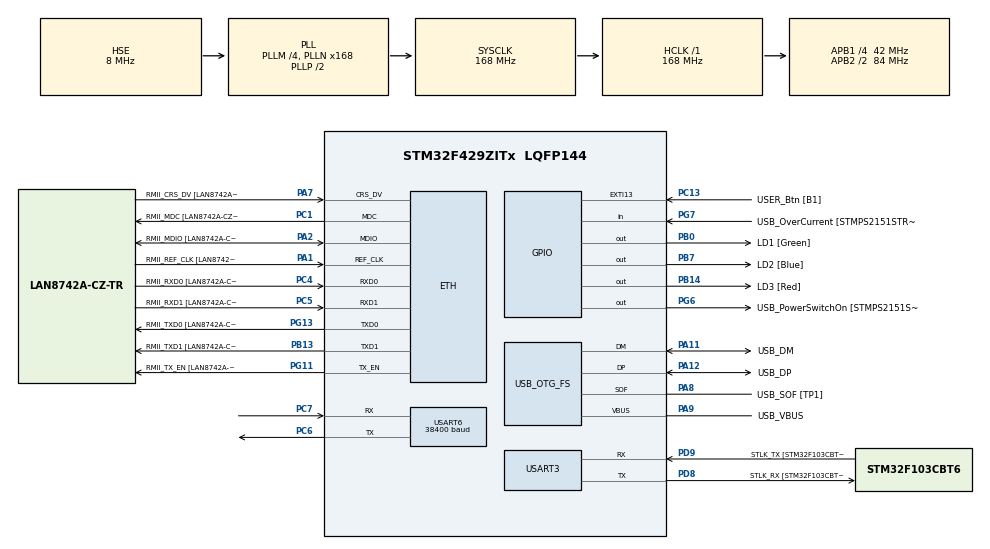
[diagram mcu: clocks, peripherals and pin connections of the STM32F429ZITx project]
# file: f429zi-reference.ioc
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ETH.MediaInterface=HAL_ETH_RMII_MODE
ETH.PHY_Name=LAN8742A_PHY_ADDRESS
ETH.PHY_Value=0
ETH.PhyAddress=0
Mcu.Family=STM32F4
Mcu.Name=STM32F429ZITx
Mcu.Package=LQFP144
NVIC.PriorityGroup=NVIC_PRIORITYGROUP_4
NVIC.USART6_IRQn=true\:0\:0\:false\:false\:true\:true\:true\:true
PA1.GPIO_Label=RMII_REF_CLK [LAN8742A-CZ-TR_REFCLK0]
PA1.Mode=RMII
PA1.Signal=ETH_REF_CLK
PA10.GPIO_Label=USB_ID
PA10.Signal=USB_OTG_FS_ID
PA11.GPIO_Label=USB_DM
PA11.Mode=Device_Only
PA11.Signal=USB_OTG_FS_DM
PA12.GPIO_Label=USB_DP
PA12.Mode=Device_Only
PA12.Signal=USB_OTG_FS_DP
PA13.GPIO_Label=TMS
PA13.Mode=Serial_Wire
PA13.Signal=SYS_JTMS-SWDIO
PA14.GPIO_Label=TCK
PA14.Mode=Serial_Wire
PA14.Signal=SYS_JTCK-SWCLK
PA2.GPIO_Label=RMII_MDIO [LAN8742A-CZ-TR_MDIO]
PA2.Mode=RMII
PA2.Signal=ETH_MDIO
PA7.GPIO_Label=RMII_CRS_DV [LAN8742A-CZ-TR_CRS_DV]
PA7.Mode=RMII
PA7.Signal=ETH_CRS_DV
PA8.GPIO_Label=USB_SOF [TP1]
PA8.Mode=Activate_SOF_FS
PA8.Signal=USB_OTG_FS_SOF
PA9.GPIO_Label=USB_VBUS
PA9.Mode=Activate_VBUS
PA9.Signal=USB_OTG_FS_VBUS
PB0.GPIO_Label=LD1 [Green]
PB0.Signal=GPIO_Output
PB13.GPIO_Label=RMII_TXD1 [LAN8742A-CZ-TR_TXD1]
PB13.Mode=RMII
PB13.Signal=ETH_TXD1
PB14.GPIO_Label=LD3 [Red]
PB14.Signal=GPIO_Output
PB7.GPIO_Label=LD2 [Blue]
PB7.Signal=GPIO_Output
PC1.GPIO_Label=RMII_MDC [LAN8742A-CZ-TR_MDC]
PC1.Mode=RMII
PC1.Signal=ETH_MDC
PC13.GPIO_Label=USER_Btn [B1]
PC13.Signal=GPXTI13
PC14/OSC32_IN.Mode=LSE-External-Oscillator
PC14/OSC32_IN.Signal=RCC_OSC32_IN
PC15/OSC32_OUT.Mode=LSE-External-Oscillator
PC15/OSC32_OUT.Signal=RCC_OSC32_OUT
PC4.GPIO_Label=RMII_RXD0 [LAN8742A-CZ-TR_RXD0]
PC4.Mode=RMII
PC4.Signal=ETH_RXD0
PC5.GPIO_Label=RMII_RXD1 [LAN8742A-CZ-TR_RXD1]
PC5.Mode=RMII
PC5.Signal=ETH_RXD1
PC6.Mode=Asynchronous
PC6.Signal=USART6_TX
PC7.Mode=Asynchronous
PC7.Signal=USART6_RX
PD8.GPIO_Label=STLK_RX [STM32F103CBT6_PA3]
PD8.Mode=Asynchronous
PD8.Signal=USART3_TX
PD9.GPIO_Label=STLK_TX [STM32F103CBT6_PA2]
PD9.Mode=Asynchronous
PD9.Signal=USART3_RX
PG11.GPIO_Label=RMII_TX_EN [LAN8742A-CZ-TR_TXEN]
PG11.Mode=RMII
PG11.Signal=ETH_TX_EN
PG13.GPIO_Label=RMII_TXD0 [LAN8742A-CZ-TR_TXD0]
PG13.Mode=RMII
PG13.Signal=ETH_TXD0
PG6.GPIO_Label=USB_PowerSwitchOn [STMPS2151STR_EN]
PG6.Signal=GPIO_Output
PG7.GPIO_Label=USB_OverCurrent [STMPS2151STR_FAULT]
PG7.Signal=GPIO_Input
PH0/OSC_IN.GPIO_Label=MCO [STM32F103CBT6_PA8]
PH0/OSC_IN.Mode=HSE-External-Clock-Source
PH0/OSC_IN.Signal=RCC_OSC_IN
PH1/OSC_OUT.Mode=HSE-External-Clock-Source
PH1/OSC_OUT.Signal=RCC_OSC_OUT
ProjectManager.HeapSize=0x200
ProjectManager.StackSize=0x400
ProjectManager.TargetToolchain=CMake
RCC.48MHZClocksFreq_Value=48000000
RCC.AHBFreq_Value=168000000
RCC.APB1CLKDivider=RCC_HCLK_DIV4
RCC.APB1Freq_Value=42000000
RCC.APB1TimFreq_Value=84000000
RCC.APB2CLKDivider=RCC_HCLK_DIV2
RCC.APB2Freq_Value=84000000
RCC.APB2TimCLKDivider=2
RCC.APB2TimFreq_Value=168000000
RCC.CortexFreq_Value=168000000
RCC.HCLKFreq_Value=168000000
RCC.HSE_VALUE=8000000
RCC.HSI_VALUE=16000000
RCC.PLLM=4
RCC.PLLMUL=RCC_PLL_MUL9
RCC.PLLN=168
RCC.PLLQ=7
RCC.PRESCALERUSB=RCC_USBCLKSOURCE_PLL_DIV1_5
RCC.SYSCLKFreq_VALUE=168000000
RCC.SYSCLKSource=RCC_SYSCLKSOURCE_PLLCLK
RCC.SYSCLKSourceVirtual=RCC_SYSCLKSOURCE_PLLCLK
RCC.USBFreq_Value=48000000
RCC.VCOOutputFreq_Value=336000000
USART3.VirtualMode=VM_ASYNC
USART6.BaudRate=38400
USART6.VirtualMode=VM_ASYNC
USB_OTG_FS.VirtualMode=Device_Only
VP_RNG_VS_RNG.Mode=RNG_Activate
board=NUCLEO-F429ZI

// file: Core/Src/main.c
/* USER CODE BEGIN Header */
/**
  ******************************************************************************
  * @file           : main.c
  * @brief          : Main program body
  ******************************************************************************
  * @attention
  *
  * Copyright (c) 2026 STMicroelectronics.
  * All rights reserved.
  *
  * This software is licensed under terms that can be found in the LICENSE file
  * in the root directory of this software component.
  * If no LICENSE file comes with this software, it is provided AS-IS.
  *
  ******************************************************************************
  */
/* USER CODE END Header */
#include "main.h"
#include "eth.h"
#include "usart.h"
#include "usb_otg.h"
#include "gpio.h"
#include "rng.h"

/* USER CODE BEGIN Includes */
#include <stdio.h>
#include "firmware_update_service.h"
#include "wifi_credentials.local.h"
#include "esp01_uart.h"
#include "esp01_modem.h"
#include "esp01_coap_download_transport.h"
#include "f429zi_firmware_backend.h"
#include "f429zi_lwm2m_client.h"
/* USER CODE END Includes */

/* USER CODE BEGIN PD */

#define LWM2M_ENDPOINT_NAME "stm32-f429zi-01"
#define LWM2M_SERVER_HOST   "10.10.16.58"
#define LWM2M_SERVER_PORT   5683U
#define LWM2M_LOCAL_PORT    56830U
#define ARTIFACT_LOCAL_PORT 56831U
#define ARTIFACT_LINK_ID    1U

#ifndef F429ZI_APP_VERSION
#define F429ZI_APP_VERSION "unknown"
#endif

/* USER CODE END PD */

/* USER CODE BEGIN PV */
static firmware_update_service_t firmware_service;
static firmware_update_backend_t firmware_backend;
static f429zi_firmware_backend_t firmware_backend_context;
static firmware_download_transport_t firmware_download_transport;
static esp01_coap_download_transport_t firmware_download_context;
static f429zi_lwm2m_client_t lwm2m_client;
/* USER CODE END PV */

void SystemClock_Config(void);

/* USER CODE BEGIN 0 */

int __io_putchar(int ch)
{
    uint8_t byte = (uint8_t)ch;

    HAL_UART_Transmit(
        &huart3,
        &byte,
        1U,
        HAL_MAX_DELAY);

    return ch;
}
/* USER CODE END 0 */

int main(void)
{

  /* USER CODE BEGIN 1 */

  bool wifi_connected = false;
  int previous_lwm2m_error = COAP_NO_ERROR;

  /* USER CODE END 1 */

  /* MCU Configuration--------------------------------------------------------*/

  /* Reset of all peripherals, Initializes the Flash interface and the Systick. */
  HAL_Init();

  /* Configure the system clock */
  SystemClock_Config();

  /* Initialize all configured peripherals */
  MX_GPIO_Init();
  MX_ETH_Init();
  MX_USART3_UART_Init();
  MX_USART6_UART_Init();
  MX_USB_OTG_FS_PCD_Init();
  MX_RNG_Init();
  /* USER CODE BEGIN 2 */

  printf("[OTA APP] version=%s\r\n", F429ZI_APP_VERSION);

  if (!esp01_uart_start(&huart6))
  {
      printf("[ESP] UART RX interrupt start failed\r\n");
      Error_Handler();
  }

  esp01_modem_status_t modem_status;

  esp01_modem_init();

  modem_status = esp01_modem_reset();

  if (modem_status != ESP01_MODEM_STATUS_OK)
  {
      printf(
          "[ESP] Modem reset failed: %u\r\n",
          (unsigned)modem_status);
  }
  else
  {
      modem_status = esp01_modem_join_wifi(
          WIFI_SSID,
          WIFI_PASSWORD);

      if (modem_status != ESP01_MODEM_STATUS_OK)
      {
          printf(
              "[ESP] Wi-Fi connection failed: %u\r\n",
              (unsigned)modem_status);
      }
      else
      {
          printf("[ESP] Wi-Fi connected\r\n");
          wifi_connected = true;
      }
  }

  printf(
      "[ESP] UART overflows=%lu, packet drops=%lu\r\n",
      (unsigned long)esp01_uart_overflow_count(),
      (unsigned long)esp01_modem_dropped_packet_count());

  if (!f429zi_firmware_backend_init(
          &firmware_backend_context,
          &firmware_backend))
  {
      Error_Handler();
  }

  if (!firmware_update_service_init(
          &firmware_service,
          &firmware_backend))
  {
      Error_Handler();
  }

  firmware_update_service_recover_after_boot(
      &firmware_service);

  printf(
      "[OTA KIT] state=%u, updateResult=%u\r\n",
      (unsigned)firmware_service.state,
      (unsigned)firmware_service.update_result);

  if (wifi_connected)
  {
      if (!esp01_coap_download_transport_init(
              &firmware_download_context,
              ARTIFACT_LINK_ID,
              ARTIFACT_LOCAL_PORT,
              &firmware_download_transport))
      {
          printf("[OTA] download transport initialization failed\r\n");
          Error_Handler();
      }

      if (!f429zi_lwm2m_client_init(
              &lwm2m_client,
              LWM2M_ENDPOINT_NAME,
              LWM2M_SERVER_HOST,
              LWM2M_SERVER_PORT,
              LWM2M_LOCAL_PORT,
              &firmware_service,
              &firmware_download_transport))
      {
          printf("[LwM2M] initialization failed\r\n");
          Error_Handler();
      }
  }

  /* USER CODE END 2 */

  /* Infinite loop */
  while (1)
  {

    /* USER CODE BEGIN 3 */
    if (wifi_connected)
    {
        int lwm2m_error =
            f429zi_lwm2m_client_step(&lwm2m_client);

        if (lwm2m_error != COAP_NO_ERROR &&
            lwm2m_error != previous_lwm2m_error)
        {
            printf(
                "[LwM2M] step failed: %d\r\n",
                lwm2m_error);
        }

        previous_lwm2m_error = lwm2m_error;

        firmware_download_transport_status_t download_status =
            esp01_coap_download_transport_process(
                &firmware_download_context);

        if (download_status !=
            FIRMWARE_DOWNLOAD_TRANSPORT_STATUS_OK)
        {
            printf(
                "[OTA] download transport failed: %u\r\n",
                (unsigned)download_status);
        }

        f429zi_firmware_backend_process(
            &firmware_backend_context);
    }

    HAL_Delay(1U);
  }
  /* USER CODE END 3 */
}

void SystemClock_Config(void)
{
  RCC_OscInitTypeDef RCC_OscInitStruct = {0};
  RCC_ClkInitTypeDef RCC_ClkInitStruct = {0};

  /** Configure the main internal regulator output voltage
  */
  __HAL_RCC_PWR_CLK_ENABLE();
  __HAL_PWR_VOLTAGESCALING_CONFIG(PWR_REGULATOR_VOLTAGE_SCALE1);

  /** Initializes the RCC Oscillators according to the specified parameters
  * in the RCC_OscInitTypeDef structure.
  */
  RCC_OscInitStruct.OscillatorType = RCC_OSCILLATORTYPE_HSE;
  RCC_OscInitStruct.HSEState = RCC_HSE_BYPASS;
  RCC_OscInitStruct.PLL.PLLState = RCC_PLL_ON;
  RCC_OscInitStruct.PLL.PLLSource = RCC_PLLSOURCE_HSE;
  RCC_OscInitStruct.PLL.PLLM = 4;
  RCC_OscInitStruct.PLL.PLLN = 168;
  RCC_OscInitStruct.PLL.PLLP = RCC_PLLP_DIV2;
  RCC_OscInitStruct.PLL.PLLQ = 7;
  if (HAL_RCC_OscConfig(&RCC_OscInitStruct) != HAL_OK)
  {
    Error_Handler();
  }

  /** Initializes the CPU, AHB and APB buses clocks
  */
  RCC_ClkInitStruct.ClockType = RCC_CLOCKTYPE_HCLK|RCC_CLOCKTYPE_SYSCLK
                              |RCC_CLOCKTYPE_PCLK1|RCC_CLOCKTYPE_PCLK2;
  RCC_ClkInitStruct.SYSCLKSource = RCC_SYSCLKSOURCE_PLLCLK;
  RCC_ClkInitStruct.AHBCLKDivider = RCC_SYSCLK_DIV1;
  RCC_ClkInitStruct.APB1CLKDivider = RCC_HCLK_DIV4;
  RCC_ClkInitStruct.APB2CLKDivider = RCC_HCLK_DIV2;

  if (HAL_RCC_ClockConfig(&RCC_ClkInitStruct, FLASH_LATENCY_5) != HAL_OK)
  {
    Error_Handler();
  }
}

void Error_Handler(void)
{
  __disable_irq();
  while (1)
  {
  }
}
